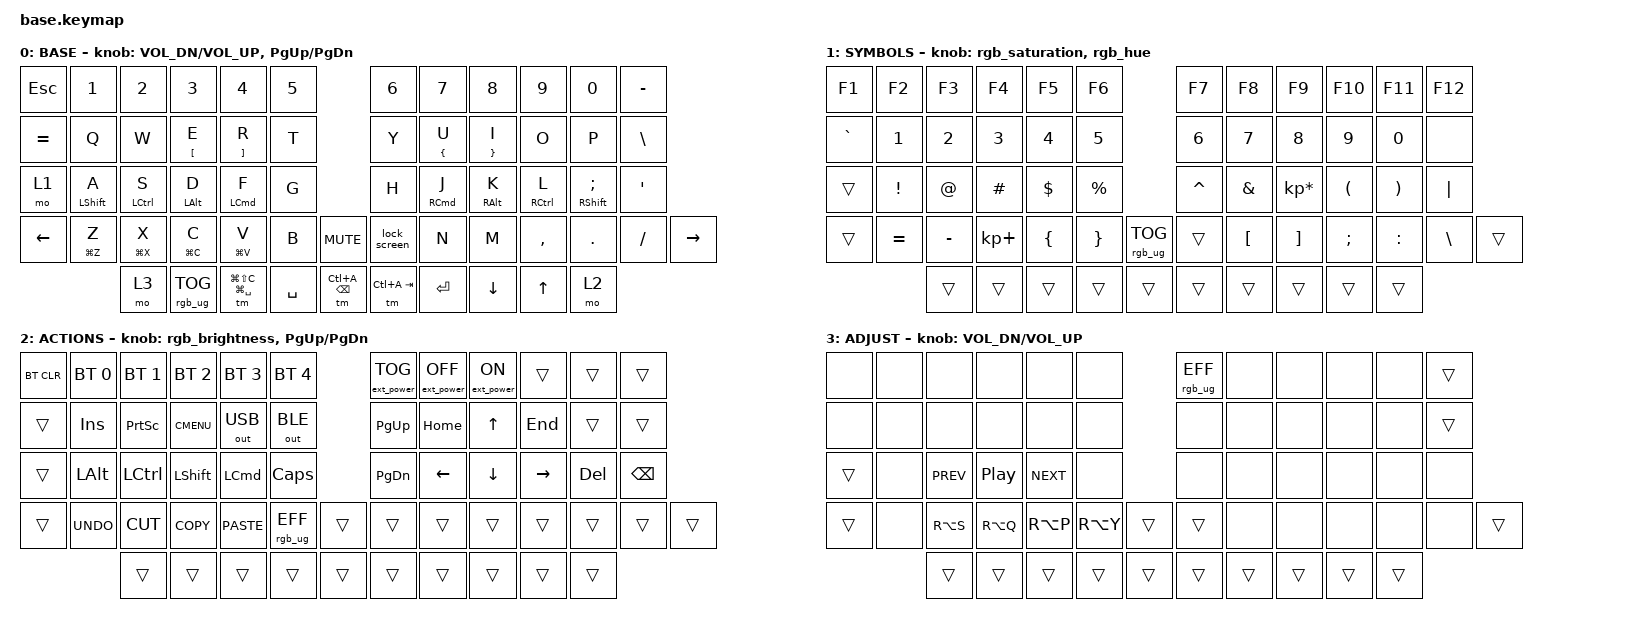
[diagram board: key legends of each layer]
/*
 * Copyright (c) 2023 The ZMK Contributors
 *
 * SPDX-License-Identifier: MIT
 */

#include <behaviors.dtsi>
#include <dt-bindings/zmk/bt.h>
#include <dt-bindings/zmk/ext_power.h>
#include <dt-bindings/zmk/keys.h>
#include <dt-bindings/zmk/outputs.h>
#include <dt-bindings/zmk/rgb.h>

#include "keys/base.h"

#include "includes/rgb.dtsi"
#include "includes/mods.dtsi"
#include "includes/settings.dtsi"


/ {
    keymap {
        compatible = "zmk,keymap";

        base {
            display-name = "BASE";
            // ------------------------------------------------------------------------------------------------------------
            // |  ESC  |  1  |  2  |  3   |  4   |  5   |                   |  6   |  7    |  8    |  9   |   0   |   `   |
            // |  TAB  |  Q  |  W  |  E   |  R   |  T   |                   |  Y   |  U    |  I    |  O   |   P   |   -   |
            // |  CTRL |  A  |  S  |  D   |  F   |  G   |                   |  H   |  J    |  K    |  L   |   ;   |   '   |
            // | SHIFT |  Z  |  X  |  C   |  V   |  B   |   "["  |  |  "]"  |  N   |  M    |  ,    |  .   |   /   | SHIFT |
            //               |CTRL | ALT  | GUI  | LOWER|  SPACE |  | ENTER | RAISE| BSPC  | GUI   | RALT |

            bindings = <
&kp ESC         &kp N1        &kp N2       &kp N3              &kp N4                   &kp N5                                           &kp N6     &kp N7            &kp N8             &kp N9       &kp N0          &kp MINUS
&kp EQUAL       &kp Q         &kp W        &mt LEFT_BRACKET E  &mt RIGHT_BRACKET R      &kp T                                            &kp Y      &mt LEFT_BRACE U  &mt RIGHT_BRACE I  &kp O        &kp P           &kp BACKSLASH
&mo 1           &hml LSHIFT A  &hml LCTRL S  &hml LALT D       &hml LCMD F           &kp G                                            &kp H      &hmr RCMD J        &hmr RALT K         &hmr RCTRL L  &hmr RSHFT SEMI  &kp SQT
&kp LEFT_ARROW  &hml LG(Z) Z   &hml LG(X) X  &hml LG(C) C         &hml LG(V) V              &kp B      &kp C_MUTE             &lock_screen   &kp N      &kp M             &kp COMMA          &kp DOT      &kp FSLH        &kp RIGHT_ARROW
                              &mo 3        &rgb_ug RGB_TOG     &tm LG(LS(C)) LG(SPACE)  &kp SPACE  &tm LC(A) BACKSPACE    &tm LC(A) TAB  &kp ENTER  &kp DOWN_ARROW    &kp UP_ARROW       &mo 2
            >;

            sensor-bindings = <&inc_dec_kp C_VOL_DN C_VOL_UP &inc_dec_kp PG_UP PG_DN>;
        };

        symbols {
            display-name = "SYMBOLS";
            // TODO: Some binds are waiting for shifted keycode support.
            // ------------------------------------------------------------------------------------------------------------
            // |   F1  |  F2 |  F3 |  F4  |  F5  |  F6  |                   |  F7  |  F8   |  F9   |  F10 |  F11  |  F12  |
            // | `     |   1 |   2 |   3  |   4  |   5  |                   |   6  |   7   |   8   |   9  |    0  |       |
            // |       |  !  |  @  |  #   |  $   |  %   |                   |  ^   |  &    |  *    |  (   |   )   |   |   |
            // |       |  =  |  -  |  +   |  {   |  }   |        |  |       |  [   |  ]    |  ;    |  :   |   \   |       |
            //               |     |      |      |      |        |  |       |      |       |       |      |

            bindings = <
&kp F1     &kp F2     &kp F3     &kp F4       &kp F5    &kp F6                       &kp F7     &kp F8    &kp F9           &kp F10    &kp F11   &kp F12
&kp GRAVE  &kp N1     &kp N2     &kp N3       &kp N4    &kp N5                       &kp N6     &kp N7    &kp N8           &kp N9     &kp N0    &none
&trans     &kp EXCL   &kp AT     &kp HASH     &kp DLLR  &kp PRCNT                    &kp CARET  &kp AMPS  &kp KP_MULTIPLY  &kp LPAR   &kp RPAR  &kp PIPE
&trans     &kp EQUAL  &kp MINUS  &kp KP_PLUS  &kp LBRC  &kp RBRC   &rgb_ug RGB_TOG    &trans  &kp LBKT   &kp RBKT  &kp SEMI         &kp COLON  &kp BSLH  &trans
                      &trans     &trans       &trans    &trans     &trans    &trans  &trans     &trans    &trans           &trans
            >;

            sensor-bindings = <&rgb_saturation &rgb_hue>;
        };

        actions {
            display-name = "ACTIONS";
            // ------------------------------------------------------------------------------------------------------------
            // |BTCLR| BT1  | BT2  |  BT3  |  BT4  |  BT5  |                |      |      |       |      |       |       |
            // |     | INS  | PSCR | GUI   | USB O | BLE O |                | PGUP | HOME |   ^   | END  |       |       |
            // |     | ALT  | CTRL | SHIFT |       | CAPS  |                | PGDN |   <- |   v   |  ->  |  DEL  | BKSPC |
            // |     | UNDO | CUT  | COPY  | PASTE |       |      |  |      |      |      |       |      |       |       |
            //              |      |       |       |       |      |  |      |      |      |       |      |

            bindings = <
&bt BT_CLR  &bt BT_SEL 0  &bt BT_SEL 1  &bt BT_SEL 2  &bt BT_SEL 3  &bt BT_SEL 4                       &ext_power EP_TOG  &ext_power EP_OFF  &ext_power EP_ON  &trans     &trans   &trans
&trans      &kp INS       &kp PSCRN     &kp K_CMENU   &out OUT_USB  &out OUT_BLE                       &kp PG_UP          &kp HOME           &kp UP            &kp END    &trans   &trans
&trans      &kp LALT      &kp LCTRL     &kp LSHFT     &kp LCMD      &kp CLCK                           &kp PG_DN          &kp LEFT           &kp DOWN          &kp RIGHT  &kp DEL  &kp BSPC
&trans      &kp K_UNDO    &kp K_CUT     &kp K_COPY    &kp K_PASTE   &rgb_ug RGB_EFF  &trans    &trans  &trans             &trans             &trans            &trans     &trans   &trans
                          &trans        &trans        &trans        &trans           &trans    &trans  &trans             &trans             &trans            &trans
            >;

            sensor-bindings = <&rgb_brightness &inc_dec_kp PG_UP PG_DN>;
        };

        adjust {
            display-name = "ADJUST";
            // ---------------------------------------------------------------------------------------------------------
            // |       |     |     |             |      |      |                   |     |     |     |     |     |     |
            // |       |     |     |             |      |      |                   |     |     |     |     |     |     |
            // |       |     | Prev | Play/Pause | Next |      |                   |     |     |     |     |     |     |
            // |       |     |   ß |      ä      |  ö   |  ü   |        |  |       |     |     |     |     |     |     |
            //               |     |             |      |      |        |  |       |     |     |     |     |

            bindings = <
&none   &none  &none       &none      &none       &none                        &rgb_ug RGB_EFF  &none   &none   &none   &none  &trans
&none   &none  &none       &none      &none       &none                        &none            &none   &none   &none   &none  &trans
&trans  &none  &kp C_PREV  &kp C_PP   &kp C_NEXT  &none                        &none            &none   &none   &none   &none  &none
&trans  &none  &kp RA(S)   &kp RA(Q)  &kp RA(P)   &kp RA(Y)  &trans    &trans  &none            &none   &none   &none   &none  &trans
               &trans      &trans     &trans      &trans     &trans    &trans  &trans           &trans  &trans  &trans
            >;

            sensor-bindings = <&inc_dec_kp C_VOL_DN C_VOL_UP>;
        };
    };
};
